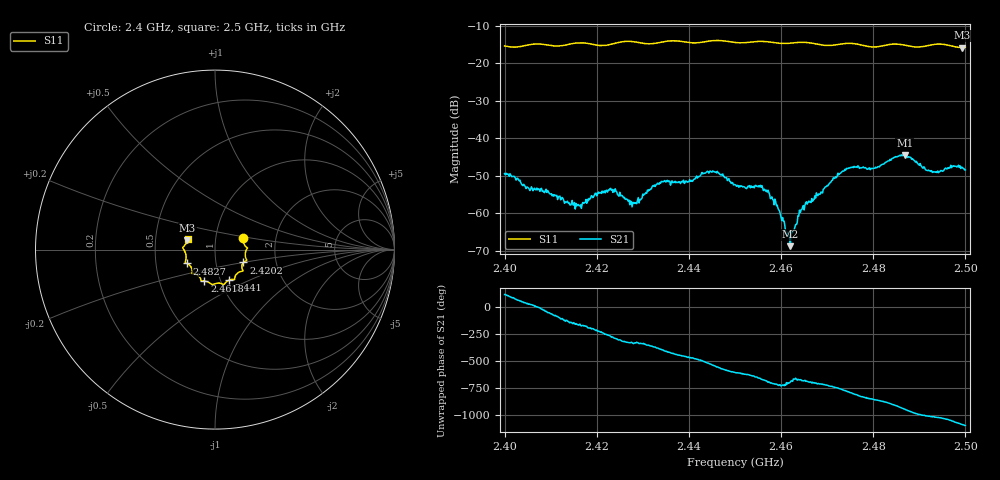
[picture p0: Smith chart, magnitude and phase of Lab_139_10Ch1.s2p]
# Hz S RI R 50
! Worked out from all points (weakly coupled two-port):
!   601 points, 2.4 GHz to 2.5 GHz, reference 50 ohm
!   highest |S21| = -44.41 dB at 2.4868 GHz (marker M1); lowest = -68.8 dB at 2.462 GHz (marker M2)
!   lowest |S11| = -15.8 dB at 2.4993 GHz (marker M3), VSWR 1.39, Z = 36.5 + j3.83 ohm
!   |S11| at or under -10 dB: start of sweep to end of sweep
!   S12 and S22 are empty: the file has one direction only
!   S11 on the Smith chart (normalised r, x): 2.4 GHz: 1.36, +0.18; 2.4202 GHz: 1.36, -0.20; 2.441 GHz: 1.10, -0.39; 2.4618 GHz: 0.84, -0.30; 2.4827 GHz: 0.72, -0.12; 2.5 GHz: 0.73, +0.09
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2.4e9  0.1585 0.0628  -0.00157 0.00301  0 0  0 0
2.416667e9  0.1773 -0.061  -0.00116 -0.000134  0 0  0 0
2.420167e9  0.1585 -0.0714  -0.00132 0.00122  0 0  0 0
2.4235e9  0.1501 -0.1022  0.000296 0.00188  0 0  0 0
2.428167e9  0.1515 -0.1199  0.00124 0.000629  0 0  0 0
2.433333e9  0.1115 -0.1509  0.00235 -0.000878  0 0  0 0
2.441e9  0.0786 -0.1698  -0.00115 -0.00258  0 0  0 0
2.445667e9  0.0506 -0.1947  -0.0035 0.000379  0 0  0 0
2.45e9  0.0284 -0.1874  -0.000952 0.00221  0 0  0 0
2.456833e9  -0.0193 -0.1933  0.00167 0.00116  0 0  0 0
2.459167e9  -0.0339 -0.1831  0.00129 2.35e-05  0 0  0 0
2.461833e9  -0.0593 -0.1754  0.00045 0.000145  0 0  0 0
2.462e9  -0.0605 -0.1753  0.000334 0.000147  0 0  0 0
2.464333e9  -0.0748 -0.1748  0.000795 0.000776  0 0  0 0
2.466667e9  -0.0788 -0.1682  0.00151 0.000429  0 0  0 0
2.474333e9  -0.1262 -0.1342  0.00182 -0.0035  0 0  0 0
2.482667e9  -0.1561 -0.0773  -0.00454 -0.00151  0 0  0 0
2.483333e9  -0.1605 -0.0752  -0.00494 -0.000772  0 0  0 0
2.486833e9  -0.1636 -0.0609  -0.004 0.00449  0 0  0 0
2.493333e9  -0.1788 0.00605  0.00193 0.00301  0 0  0 0
2.499333e9  -0.154 0.0511  0.00403 -0.000786  0 0  0 0
2.5e9  -0.1525 0.0608  0.00357 -0.00124  0 0  0 0
